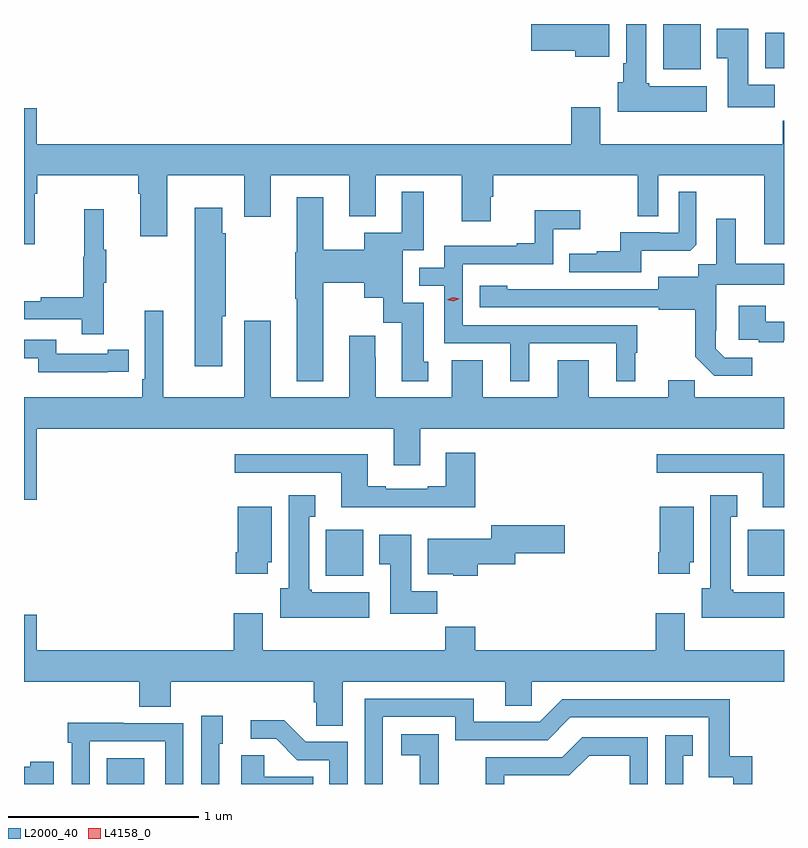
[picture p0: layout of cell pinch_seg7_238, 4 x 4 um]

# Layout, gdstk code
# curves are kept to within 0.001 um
import gdstk
lib = gdstk.Library(unit=1e-6, precision=1e-09)
def R(c, l, rs):  # rectangles x0, y0, x1, y1
    for r in rs: c.add(gdstk.rectangle(r[:2], r[2:], *l))
def P(c, l, *ps):  # polygons
    for p in ps: c.add(gdstk.Polygon(p, *l))
L2000_40 = (2000, 40)
L4158_0 = (4158, 0)

pinch_seg7_238 = lib.new_cell('pinch_seg7_238')
R(pinch_seg7_238, L2000_40, [(824.882,1013.397,825.079,1013.533), (826.034,1014.494,826.231,1014.736), (828.254,1014.494,828.446,1014.736), (827.811,1017.158,828.007,1017.397), (828.347,1017.164,828.446,1017.352)])
P(pinch_seg7_238, L2000_40, [(828.04,1017.07),(827.736,1017.07),(827.736,1017.084),(827.722,1017.084),(827.722,1017.397),(827.615,1017.397),(827.615,1017.19),(827.6,1017.19),(827.6,1017.09),(827.57,1017.09),(827.57,1016.936),(828.04,1016.936)],
  [(827.527,1017.397),(827.115,1017.397),(827.115,1017.257),(827.348,1017.257),(827.348,1017.224),(827.527,1017.224)],
  [(828.398,1017.076),(828.259,1017.076),(828.259,1017.373),(828.092,1017.373),(828.092,1017.217),(828.149,1017.217),(828.149,1016.958),(828.398,1016.958)],
  [(827.676,1016.386),(827.784,1016.386),(827.784,1016.6),(828.341,1016.6),(828.341,1016.238),(828.446,1016.238),(828.446,1016.888),(828.439,1016.888),(828.439,1016.764),(827.479,1016.764),(827.479,1016.959),(827.327,1016.959),(827.327,1016.764),(824.512,1016.764),(824.512,1016.953),(824.446,1016.953),(824.446,1016.238),(824.503,1016.238),(824.503,1016.504),(824.516,1016.504),(824.516,1016.6),(825.047,1016.6),(825.047,1016.504),(825.059,1016.504),(825.059,1016.28),(825.199,1016.28),(825.199,1016.6),(825.605,1016.6),(825.605,1016.382),(825.745,1016.382),(825.745,1016.6),(826.157,1016.6),(826.157,1016.384),(826.297,1016.384),(826.297,1016.6),(826.751,1016.6),(826.751,1016.358),(826.903,1016.358),(826.903,1016.487),(826.916,1016.487),(826.916,1016.6),(827.676,1016.6)],
  [(827.695,1016.204),(827.953,1016.204),(827.985,1016.235),(827.985,1016.515),(827.892,1016.515),(827.892,1016.298),(827.792,1016.298),(827.792,1016.301),(827.585,1016.301),(827.585,1016.2),(827.461,1016.2),(827.461,1016.188),(827.317,1016.188),(827.317,1016.091),(827.695,1016.091)],
  [(826.021,1016.036),(826.238,1016.036),(826.238,1015.955),(826.337,1015.955),(826.337,1015.824),(826.433,1015.824),(826.433,1015.518),(826.573,1015.518),(826.573,1015.62),(826.549,1015.62),(826.549,1015.929),(826.44,1015.929),(826.44,1016.205),(826.549,1016.205),(826.549,1016.515),(826.433,1016.515),(826.433,1016.299),(826.238,1016.299),(826.238,1016.208),(826.021,1016.208),(826.021,1016.485),(825.881,1016.485),(825.881,1016.196),(825.874,1016.196),(825.874,1015.952),(825.881,1015.952),(825.881,1015.517),(826.021,1015.517)],
  [(825.49,1015.859),(825.508,1015.859),(825.508,1016.295),(825.49,1016.295),(825.49,1016.431),(825.344,1016.431),(825.344,1015.596),(825.49,1015.596)],
  [(824.867,1016.035),(824.878,1016.035),(824.878,1016.209),(824.867,1016.209),(824.867,1016.422),(824.764,1016.422),(824.764,1016.172),(824.757,1016.172),(824.757,1015.958),(824.533,1015.958),(824.533,1015.938),(824.446,1015.938),(824.446,1015.842),(824.749,1015.842),(824.749,1015.764),(824.867,1015.764)],
  [(827.104,1015.716),(827.564,1015.716),(827.564,1015.517),(827.662,1015.517),(827.662,1015.668),(827.674,1015.668),(827.674,1015.812),(826.755,1015.812),(826.755,1016.133),(827.232,1016.133),(827.232,1016.318),(827.374,1016.318),(827.374,1016.417),(827.134,1016.417),(827.134,1016.242),(827.039,1016.242),(827.039,1016.229),(826.659,1016.229),(826.659,1016.115),(826.526,1016.115),(826.526,1016.019),(826.659,1016.019),(826.659,1015.716),(827.006,1015.716),(827.006,1015.517),(827.104,1015.517)],
  [(828.28,1015.641),(828.135,1015.641),(828.088,1015.688),(828.088,1015.783),(828.09,1015.783),(828.09,1016.024),(828.446,1016.024),(828.446,1016.134),(828.193,1016.134),(828.193,1016.371),(828.089,1016.371),(828.089,1016.132),(827.994,1016.132),(827.994,1016.068),(827.783,1016.068),(827.783,1016.001),(826.989,1016.002),(826.989,1016.02),(826.845,1016.02),(826.845,1015.905),(827.787,1015.905),(827.787,1015.893),(827.979,1015.893),(827.979,1015.647),(828.079,1015.547),(828.28,1015.547)],
  [(828.445,1015.733),(828.446,1015.733),(828.446,1015.83),(828.349,1015.83),(828.349,1015.915),(828.209,1015.915),(828.209,1015.734),(828.313,1015.734),(828.313,1015.722),(828.445,1015.722)],
  [(824.512,1015.268),(826.391,1015.268),(826.391,1015.074),(826.531,1015.074),(826.531,1015.268),(828.446,1015.268),(828.446,1015.432),(827.975,1015.432),(827.975,1015.523),(827.837,1015.523),(827.837,1015.432),(827.419,1015.432),(827.419,1015.627),(827.255,1015.627),(827.255,1015.432),(826.861,1015.432),(826.861,1015.627),(826.697,1015.627),(826.697,1015.432),(826.297,1015.432),(826.297,1015.643),(826.294,1015.643),(826.294,1015.756),(826.157,1015.756),(826.157,1015.432),(825.745,1015.432),(825.745,1015.834),(825.605,1015.834),(825.605,1015.432),(825.178,1015.432),(825.178,1015.888),(825.081,1015.888),(825.081,1015.528),(825.068,1015.528),(825.068,1015.432),(824.446,1015.432),(824.446,1014.894),(824.512,1014.894)],
  [(824.888,1015.566),(824.996,1015.566),(824.996,1015.682),(824.888,1015.682),(824.888,1015.662),(824.616,1015.662),(824.616,1015.734),(824.446,1015.734),(824.446,1015.638),(824.52,1015.638),(824.52,1015.565),(824.888,1015.565)],
  [(826.82,1015.141),(826.667,1015.141),(826.667,1014.964),(826.571,1014.964),(826.571,1014.951),(826.351,1014.951),(826.351,1014.964),(826.255,1014.964),(826.255,1015.132),(825.555,1015.132),(825.555,1015.035),(826.115,1015.035),(826.115,1014.854),(826.82,1014.854)],
  [(828.446,1015.132),(827.775,1015.132),(827.775,1015.035),(828.335,1015.035),(828.335,1014.854),(828.446,1014.854)],
  [(826.264,1014.406),(825.96,1014.406),(825.96,1014.42),(825.946,1014.42),(825.946,1014.803),(825.979,1014.803),(825.979,1014.916),(825.839,1014.916),(825.839,1014.426),(825.794,1014.426),(825.794,1014.272),(826.264,1014.272)],
  [(828.446,1014.406),(828.18,1014.406),(828.18,1014.42),(828.166,1014.42),(828.166,1014.803),(828.199,1014.803),(828.199,1014.916),(828.059,1014.916),(828.059,1014.426),(828.014,1014.426),(828.014,1014.272),(828.446,1014.272)],
  [(827.95,1014.564),(827.971,1014.564),(827.971,1014.856),(827.792,1014.856),(827.792,1014.616),(827.785,1014.616),(827.785,1014.504),(827.95,1014.504)],
  [(825.73,1014.564),(825.751,1014.564),(825.751,1014.856),(825.572,1014.856),(825.572,1014.616),(825.56,1014.616),(825.56,1014.504),(825.73,1014.504)],
  [(826.835,1014.553),(827.032,1014.553),(827.032,1014.611),(827.293,1014.611),(827.293,1014.758),(826.904,1014.758),(826.904,1014.688),(826.571,1014.688),(826.571,1014.5),(826.704,1014.5),(826.704,1014.494),(826.835,1014.494)],
  [(826.622,1014.412),(826.483,1014.412),(826.483,1014.709),(826.316,1014.709),(826.316,1014.553),(826.373,1014.553),(826.373,1014.294),(826.622,1014.294)],
  [(826.123,1013.936),(826.979,1013.936),(826.979,1013.809),(827.118,1013.809),(827.118,1013.936),(828.446,1013.936),(828.446,1014.1),(827.923,1014.1),(827.923,1014.295),(827.771,1014.295),(827.771,1014.1),(826.82,1014.1),(826.82,1014.224),(826.663,1014.224),(826.663,1014.1),(825.703,1014.1),(825.703,1014.295),(825.551,1014.295),(825.551,1014.1),(824.512,1014.1),(824.512,1014.289),(824.446,1014.289),(824.446,1013.936),(825.053,1013.936),(825.053,1013.803),(825.218,1013.803),(825.218,1013.936),(825.971,1013.936),(825.971,1013.827),(825.984,1013.827),(825.984,1013.704),(826.123,1013.704)],
  [(826.335,1013.751),(826.716,1013.751),(826.716,1013.628),(827.202,1013.628),(827.322,1013.748),(828.051,1013.748),(828.051,1013.433),(828.18,1013.433),(828.18,1013.397),(828.278,1013.397),(828.278,1013.542),(828.16,1013.542),(828.16,1013.844),(827.28,1013.844),(827.16,1013.724),(826.813,1013.724),(826.813,1013.847),(826.239,1013.847),(826.239,1013.397),(826.335,1013.397)],
  [(825.474,1013.61),(825.493,1013.61),(825.493,1013.755),(825.378,1013.755),(825.378,1013.397),(825.474,1013.397)],
  [(826.149,1013.619),(825.93,1013.619),(825.817,1013.732),(825.639,1013.732),(825.639,1013.634),(825.773,1013.634),(825.884,1013.523),(826.053,1013.523),(826.053,1013.397),(826.149,1013.397)],
  [(824.793,1013.622),(825.189,1013.622),(825.189,1013.397),(825.285,1013.397),(825.285,1013.718),(824.969,1013.718),(824.969,1013.72),(824.677,1013.72),(824.677,1013.615),(824.697,1013.615),(824.697,1013.397),(824.793,1013.397)],
  [(826.628,1013.453),(826.629,1013.453),(826.629,1013.659),(826.431,1013.659),(826.431,1013.549),(826.529,1013.549),(826.529,1013.397),(826.628,1013.397)],
  [(827.917,1013.547),(827.966,1013.547),(827.966,1013.653),(827.82,1013.653),(827.82,1013.397),(827.917,1013.397)],
  [(826.974,1013.442),(827.316,1013.442),(827.42,1013.546),(827.634,1013.546),(827.634,1013.397),(827.73,1013.397),(827.73,1013.643),(827.384,1013.643),(827.279,1013.538),(826.876,1013.538),(826.876,1013.397),(826.974,1013.397)],
  [(825.968,1013.434),(825.711,1013.434),(825.711,1013.549),(825.59,1013.549),(825.59,1013.397),(825.968,1013.397)],
  [(824.602,1013.514),(824.48,1013.514),(824.48,1013.488),(824.446,1013.488),(824.446,1013.397),(824.602,1013.397)])
P(pinch_seg7_238, L4158_0, [(826.706,1015.939),(826.671,1015.946),(826.67,1015.946),(826.671,1015.946),(826.704,1015.959),(826.739,1015.952),(826.74,1015.951),(826.739,1015.951)])

lib.write_gds('pinch_seg7_238.gds')
